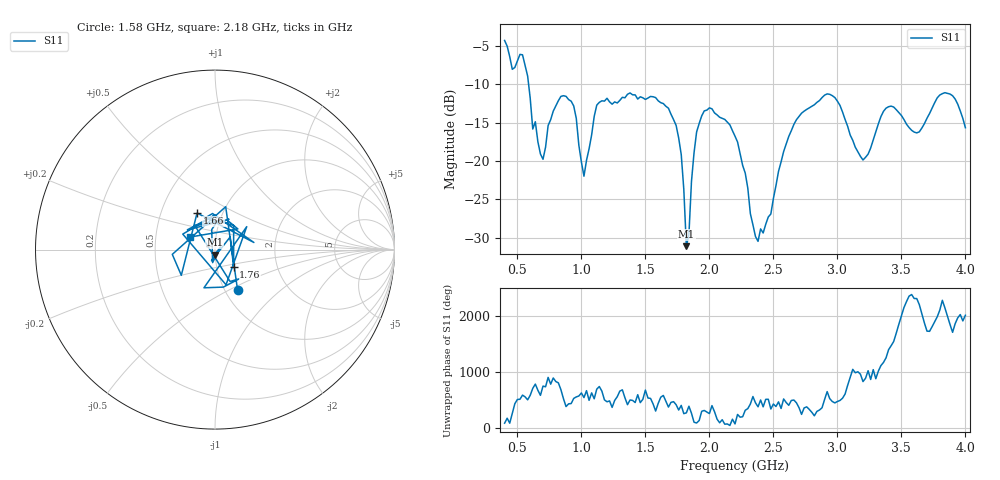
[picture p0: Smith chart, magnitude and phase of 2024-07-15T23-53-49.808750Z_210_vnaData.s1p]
!Created with skrf (http://scikit-rf.org).
# Hz S RI R 50.0
!freq ReS11 ImS11
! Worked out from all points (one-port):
!   181 points, 400 MHz to 4 GHz, reference 50 ohm
!   lowest |S11| = -31.1 dB at 1.82 GHz (marker M1), VSWR 1.06, Z = 49.8 - j2.77 ohm
!   |S11| at or under -10 dB: 587.3 MHz to end of sweep
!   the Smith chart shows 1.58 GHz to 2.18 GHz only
!   S11 on the Smith chart (normalised r, x): 1.58 GHz: 1.15, -0.55; 1.66 GHz: 0.76, +0.33; 1.76 GHz: 1.21, -0.23; 2.18 GHz: 0.75, +0.11
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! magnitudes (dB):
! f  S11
! 400 MHz  -4.3
! 460 MHz  -8.1
! 540 MHz  -6.2
! 620 MHz  -15.8
! 700 MHz  -19.8
! 860 MHz  -11.5
! 940 MHz  -12.8
! 1.02 GHz  -22.0
! 1.12 GHz  -12.7
! 1.3 GHz  -12.1
! 1.58 GHz  -11.8
! 1.66 GHz  -12.9
! 1.76 GHz  -17.0
! 1.8 GHz  -23.7
! 1.82 GHz  -31.1
! 1.88 GHz  -18.9
! 1.94 GHz  -14.1
! 2.18 GHz  -16.1
! 2.2 GHz  -16.8
! 2.38 GHz  -30.5
! 2.66 GHz  -15.3
! 2.94 GHz  -11.3
! 3.1 GHz  -16.6
! 3.2 GHz  -19.9
! 3.38 GHz  -13.1
! 3.56 GHz  -15.7
! 3.84 GHz  -11.1
! 4 GHz  -15.7
